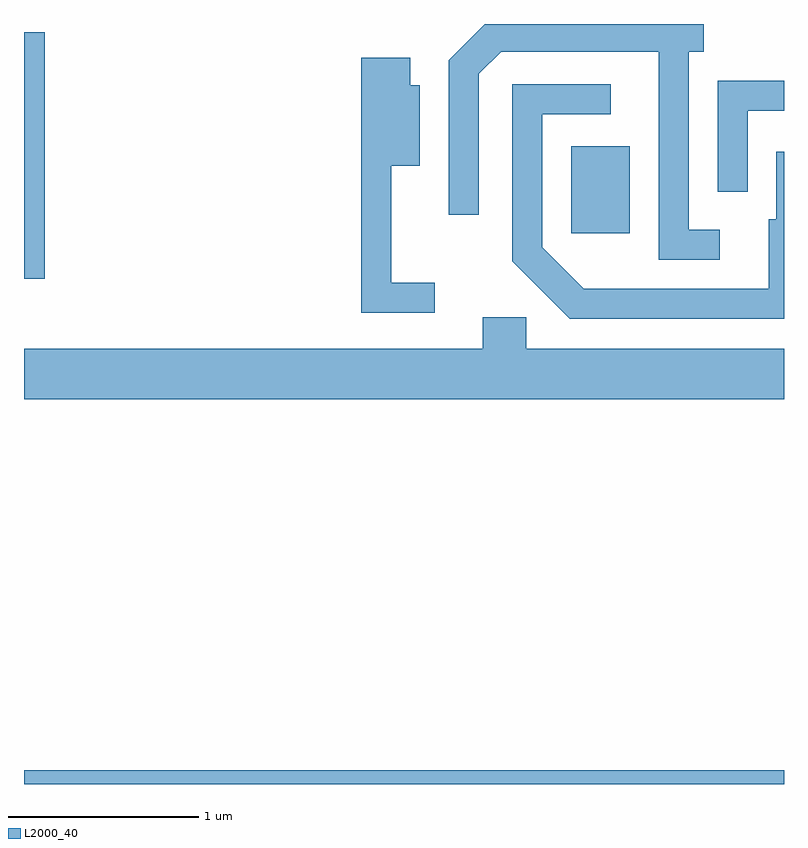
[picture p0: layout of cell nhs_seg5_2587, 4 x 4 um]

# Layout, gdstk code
import gdstk
lib = gdstk.Library(unit=1e-6, precision=1e-09)
def R(c, l, rs):  # rectangles x0, y0, x1, y1
    for r in rs: c.add(gdstk.rectangle(r[:2], r[2:], *l))
def P(c, l, *ps):  # polygons
    for p in ps: c.add(gdstk.Polygon(p, *l))
L2000_40 = (2000, 40)

nhs_seg5_2587 = lib.new_cell('nhs_seg5_2587')
R(nhs_seg5_2587, L2000_40, [(261.611,1488.072,265.611,1488.144), (261.611,1490.731,261.719,1492.029), (264.491,1490.971,264.799,1491.429)])
P(nhs_seg5_2587, L2000_40, [(265.273,1490.989),(265.109,1490.989),(265.109,1491.926),(265.188,1491.926),(265.188,1492.072),(264.037,1492.072),(263.846,1491.882),(263.846,1491.068),(264.004,1491.068),(264.004,1491.809),(264.122,1491.926),(264.951,1491.926),(264.951,1490.831),(265.273,1490.831)],
  [(263.773,1490.709),(263.544,1490.709),(263.544,1491.326),(263.694,1491.326),(263.694,1491.749),(263.644,1491.749),(263.644,1491.894),(263.386,1491.894),(263.386,1490.551),(263.773,1490.551)],
  [(265.419,1491.616),(265.611,1491.616),(265.611,1491.774),(265.261,1491.774),(265.261,1491.188),(265.419,1491.188)],
  [(265.611,1491.399),(265.571,1491.399),(265.571,1491.044),(265.531,1491.044),(265.531,1490.679),(264.557,1490.679),(264.339,1490.897),(264.339,1491.596),(264.698,1491.596),(264.698,1491.754),(264.181,1491.754),(264.181,1490.824),(264.484,1490.521),(265.611,1490.521)],
  [(265.611,1490.364),(264.254,1490.364),(264.254,1490.529),(264.026,1490.529),(264.026,1490.364),(261.611,1490.364),(261.611,1490.096),(265.611,1490.096)])

lib.write_gds('nhs_seg5_2587.gds')
